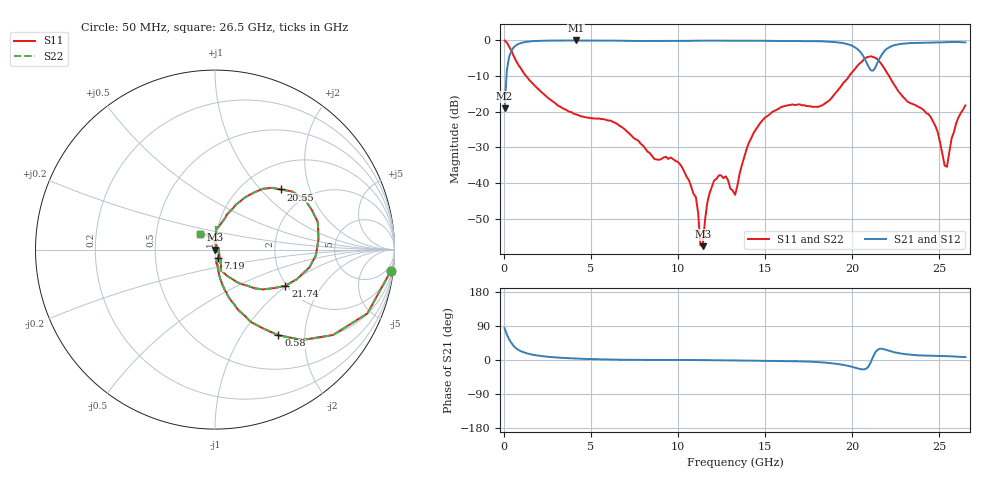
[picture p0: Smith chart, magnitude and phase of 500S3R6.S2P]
!  American Technical Ceramics  Date:  3/6/98
!  One Norden Lane
!  Huntington Station,  NY.  11746-2102
!  Tel:  (516) 547-5700  Fax:  (516) 547-5748
!  Part Number  500S3R6
!  Description: Broadband Microwave capacitor
!  Application:
# GHZ S DB R 50
! Freq  |S11|  S11 Ph  |S21|  S21 Ph  |S12|  S12 Ph  |S22|  S22 Ph
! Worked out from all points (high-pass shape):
!   201 points, 50 MHz to 26.5 GHz, reference 50 ohm
!   highest |S21| = -0.10 dB at 4.15 GHz (marker M1); lowest = -19.1 dB at 50 MHz (marker M2)
!   |S21| within 3 dB of the highest: 435 MHz to 20.43 GHz (20 GHz wide, 192 % of centre); 21.85 GHz to end of sweep
!   lowest |S11| = -57.7 dB at 11.42 GHz (marker M3), VSWR 1.00, Z = 49.9 - j0.025 ohm
!   |S11| at or under -10 dB: 1.272 GHz to 19.84 GHz (18.57 GHz wide, 176 % of centre); 22.11 GHz to end of sweep
!   |S22| runs from -57.7 to -0.1 dB; largest |S21 - S12| = 0
!   S11 on the Smith chart (normalised r, x): 50 MHz: 2, -17; 580 MHz: 1.00, -1.48; 7.19 GHz: 1.02, -0.10; 20.55 GHz: 1.47, +1.30; 21.74 GHz: 1.97, -0.98; 26.5 GHz: 0.83, +0.15
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0.05  -0.11 -6.8  -19.07 84.1  -19.07 84.1  -0.11 -6.8
0.18  -0.72 -22.8  -8.35 67.5  -8.35 67.5  -0.72 -22.8
0.58  -4.53 -53.5  -1.97 36.4  -1.97 36.4  -4.53 -53.5
4.15  -20.80 -80.5  -0.10 3.8  -0.10 3.8  -20.80 -80.5
4.55  -21.40 -81.1  -0.12 3.1  -0.12 3.1  -21.40 -81.1
7.19  -26.11 -73.5  -0.20 0.4  -0.20 0.4  -26.11 -73.5
8.91  -33.50 -5.3  -0.25 0.0  -0.25 0.0  -33.50 -5.3
10.63  -39.19 43.6  -0.20 0.1  -0.20 0.1  -39.19 43.6
11.42  -57.66 -169.0  -0.16 -0.2  -0.16 -0.2  -57.66 -169.0
11.69  -45.35 -114.3  -0.15 -0.4  -0.15 -0.4  -45.35 -114.3
12.08  -39.26 -98.2  -0.14 -0.5  -0.14 -0.5  -39.26 -98.2
13.28  -43.29 7.8  -0.14 -1.1  -0.14 -1.1  -43.29 7.8
14.07  -28.74 79.9  -0.15 -1.6  -0.15 -1.6  -28.74 79.9
14.99  -21.70 85.9  -0.20 -2.5  -0.20 -2.5  -21.70 85.9
17.77  -18.71 87.5  -0.29 -4.8  -0.29 -4.8  -18.71 87.5
20.55  -6.08 42.4  -3.83 -24.5  -3.83 -24.5  -6.08 42.4
21.21  -4.74 5.7  -8.54 9.4  -8.54 9.4  -4.74 5.7
21.74  -7.11 -27.2  -3.80 29.5  -3.80 29.5  -7.11 -27.2
22.14  -10.22 -44.4  -2.00 24.1  -2.00 24.1  -10.22 -44.4
24.52  -21.61 -68.2  -0.70 11.0  -0.70 11.0  -21.61 -68.2
25.44  -35.46 38.8  -0.58 10.2  -0.58 10.2  -35.46 38.8
26.5  -18.30 132.8  -0.63 7.8  -0.63 7.8  -18.30 132.8
